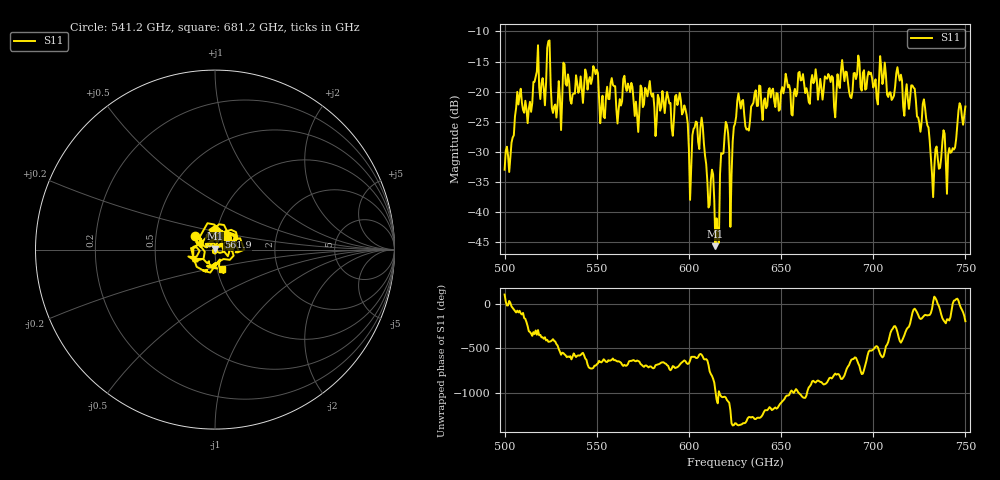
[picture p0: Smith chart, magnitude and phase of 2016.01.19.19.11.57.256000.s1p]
!Created with skrf (http://scikit-rf.org).
# GHz S RI R 50.0
!freq ReS11 ImS11
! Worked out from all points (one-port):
!   401 points, 500 GHz to 750 GHz, reference 50 ohm
!   lowest |S11| = -45.7 dB at 614.4 GHz (marker M1), VSWR 1.01, Z = 49.9 + j0.507 ohm
!   |S11| at or under -10 dB: start of sweep to end of sweep
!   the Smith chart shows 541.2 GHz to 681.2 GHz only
!   S11 on the Smith chart (normalised r, x): 541.2 GHz: 0.79, +0.12; 561.9 GHz: 1.03, +0.14; 681.2 GHz: 1.05, -0.23
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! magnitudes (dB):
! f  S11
! 500 GHz  -33.0
! 516.9 GHz  -17.5
! 520.6 GHz  -17.8
! 523.8 GHz  -11.6
! 526.9 GHz  -22.4
! 531.2 GHz  -21.3
! 541.2 GHz  -17.5
! 549.4 GHz  -17.1
! 553.1 GHz  -20.7
! 558.8 GHz  -18.9
! 561.9 GHz  -22.9
! 562.5 GHz  -21.2
! 593.8 GHz  -22.2
! 600.6 GHz  -38.0
! 607.5 GHz  -25.7
! 614.4 GHz  -45.7
! 615.6 GHz  -44.0
! 619.4 GHz  -27.3
! 623.1 GHz  -33.8
! 625 GHz  -25.3
! 656.2 GHz  -24.0
! 681.2 GHz  -18.8
! 687.5 GHz  -20.8
! 705 GHz  -18.7
! 718.8 GHz  -21.2
! 728.1 GHz  -22.7
! 732.5 GHz  -37.5
! 750 GHz  -22.5
